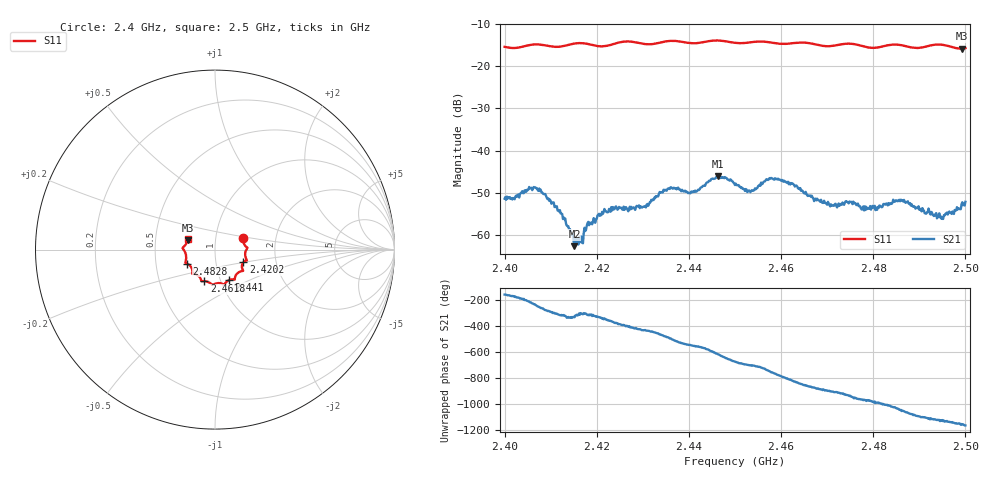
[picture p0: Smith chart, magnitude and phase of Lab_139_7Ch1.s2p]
# Hz S RI R 50
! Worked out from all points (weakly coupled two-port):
!   601 points, 2.4 GHz to 2.5 GHz, reference 50 ohm
!   highest |S21| = -46.11 dB at 2.4463 GHz (marker M1); lowest = -62.7 dB at 2.4152 GHz (marker M2)
!   lowest |S11| = -15.8 dB at 2.4993 GHz (marker M3), VSWR 1.39, Z = 36.5 + j3.85 ohm
!   |S11| at or under -10 dB: start of sweep to end of sweep
!   S12 and S22 are empty: the file has one direction only
!   S11 on the Smith chart (normalised r, x): 2.4 GHz: 1.36, +0.18; 2.4202 GHz: 1.36, -0.20; 2.441 GHz: 1.10, -0.39; 2.4618 GHz: 0.84, -0.30; 2.4828 GHz: 0.72, -0.12; 2.5 GHz: 0.73, +0.09
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2.4e9  0.1573 0.063  -0.00248 -0.00102  0 0  0 0
2.407333e9  0.1807 0.00952  -0.00109 0.00313  0 0  0 0
2.411833e9  0.1679 -0.0265  0.00132 0.00135  0 0  0 0
2.415167e9  0.1765 -0.0565  0.000655 0.00033  0 0  0 0
2.416667e9  0.1778 -0.0599  0.000484 0.000651  0 0  0 0
2.420167e9  0.1581 -0.0706  0.00149 0.000829  0 0  0 0
2.430167e9  0.1347 -0.1251  0.000629 -0.00206  0 0  0 0
2.433333e9  0.1121 -0.1511  -0.000369 -0.00283  0 0  0 0
2.441e9  0.0786 -0.1696  -0.00319 0.000781  0 0  0 0
2.446333e9  0.0501 -0.1954  -0.000946 0.00486  0 0  0 0
2.45e9  0.0285 -0.187  0.00277 0.00274  0 0  0 0
2.453167e9  -0.00183 -0.1913  0.00317 0.00101  0 0  0 0
2.457333e9  -0.0206 -0.1912  0.00411 -0.00195  0 0  0 0
2.461833e9  -0.0592 -0.1757  -0.000293 -0.00413  0 0  0 0
2.466667e9  -0.0778 -0.1681  -0.0026 -0.0013  0 0  0 0
2.477833e9  -0.1263 -0.1167  -0.000659 0.00207  0 0  0 0
2.482833e9  -0.1575 -0.0775  0.000779 0.00222  0 0  0 0
2.483333e9  -0.1606 -0.0762  0.000879 0.00221  0 0  0 0
2.486167e9  -0.164 -0.067  0.00235 0.00103  0 0  0 0
2.495e9  -0.179 0.0112  0.00112 -0.00116  0 0  0 0
2.499333e9  -0.1532 0.0514  0.000441 -0.0024  0 0  0 0
2.5e9  -0.1518 0.0609  0.00011 -0.00246  0 0  0 0
